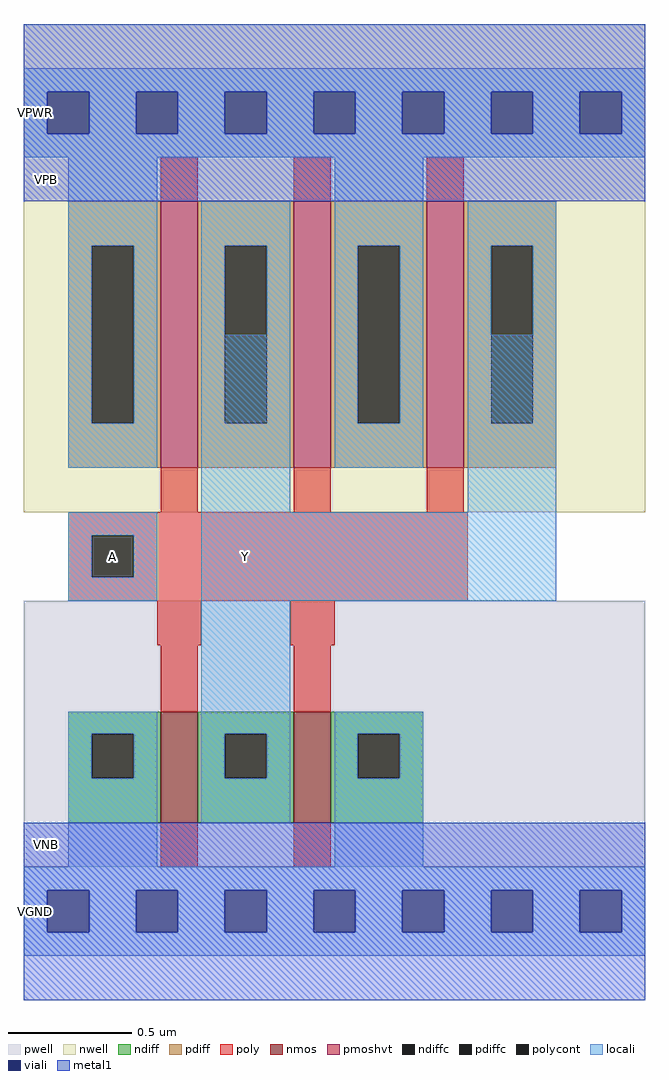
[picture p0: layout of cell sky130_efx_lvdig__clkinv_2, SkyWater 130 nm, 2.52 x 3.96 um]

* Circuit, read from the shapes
.subckt sky130_efx_lvdig__clkinv_2 A Y VPWR VGND VPB VNB
XM1 Y A VGND VNB sky130_fd_pr__nfet_01v8 w=0.45 l=0.15 m=2
XM2 Y A VPWR VPB sky130_fd_pr__pfet_01v8_hvt w=1.08 l=0.15 m=3
.ends

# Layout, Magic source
magic
tech sky130A
magscale 1 2
<< nwell >>
rect 0 288 504 684
<< pwell >>
rect 0 0 504 216
<< poly >>
rect 36 269 360 288
rect 36 235 55 269
rect 89 235 360 269
rect 36 216 360 235
rect 108 180 144 216
rect 216 180 252 216
<< polycont >>
rect 55 235 89 269
<< locali >>
rect 0 629 504 648
rect 0 595 19 629
rect 53 595 91 629
rect 125 595 163 629
rect 197 595 235 629
rect 269 595 307 629
rect 341 595 379 629
rect 413 595 451 629
rect 485 595 504 629
rect 0 576 504 595
rect 36 504 108 576
rect 252 504 324 576
rect 144 288 216 432
rect 360 288 432 432
rect 36 269 108 288
rect 36 235 55 269
rect 89 235 108 269
rect 36 216 108 235
rect 144 216 432 288
rect 144 108 216 216
rect 36 0 108 72
rect 252 0 324 72
rect 0 -19 504 0
rect 0 -53 19 -19
rect 53 -53 91 -19
rect 125 -53 163 -19
rect 197 -53 235 -19
rect 269 -53 307 -19
rect 341 -53 379 -19
rect 413 -53 451 -19
rect 485 -53 504 -19
rect 0 -72 504 -53
<< viali >>
rect 19 595 53 629
rect 91 595 125 629
rect 163 595 197 629
rect 235 595 269 629
rect 307 595 341 629
rect 379 595 413 629
rect 451 595 485 629
rect 19 -53 53 -19
rect 91 -53 125 -19
rect 163 -53 197 -19
rect 235 -53 269 -19
rect 307 -53 341 -19
rect 379 -53 413 -19
rect 451 -53 485 -19
<< metal1 >>
rect 0 629 504 684
rect 0 595 19 629
rect 53 595 91 629
rect 125 595 163 629
rect 197 595 235 629
rect 269 595 307 629
rect 341 595 379 629
rect 413 595 451 629
rect 485 595 504 629
rect 0 540 504 595
rect 0 -19 504 36
rect 0 -53 19 -19
rect 53 -53 91 -19
rect 125 -53 163 -19
rect 197 -53 235 -19
rect 269 -53 307 -19
rect 341 -53 379 -19
rect 413 -53 451 -19
rect 485 -53 504 -19
rect 0 -108 504 -53
use nmos_n2f5_f1_l150  nmos_n2f5_f1_l150_0
transform 1 0 72 0 1 36
box -72 -36 180 144
use nmos_n2f5_f1_l150  nmos_n2f5_f1_l150_1
transform 1 0 180 0 1 36
box -72 -36 180 144
use pmos_n6_f1_l150_hvt  pmos_n6_f1_l150_hvt_0
transform 1 0 72 0 1 324
box -72 -36 180 252
use pmos_n6_f1_l150_hvt  pmos_n6_f1_l150_hvt_1
transform 1 0 180 0 1 324
box -72 -36 180 252
use pmos_n6_f1_l150_hvt  pmos_n6_f1_l150_hvt_2
transform 1 0 288 0 1 324
box -72 -36 180 252
<< labels >>
flabel locali 36 216 108 288 0 FreeSans 288 0 0 0 A
port 1 nsew signal input
flabel locali 144 216 216 288 0 FreeSans 288 0 0 0 Y
port 2 nsew signal output
flabel metal1 0 576 18 648 0 FreeSans 288 0 0 0 VPWR
port 3 nsew power bidirectional
flabel metal1 0 -72 18 0 0 FreeSans 288 0 0 0 VGND
port 4 nsew ground bidirectional
flabel nwell 0 540 36 576 0 FreeSans 288 0 0 0 VPB
port 5 nsew power bidirectional
flabel pwell 0 0 36 36 0 FreeSans 288 0 0 0 VNB
port 6 nsew ground bidirectional
<< properties >>
string FIXED_BBOX 0 -36 504 612
<< end >>

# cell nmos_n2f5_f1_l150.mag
magic
tech sky130A
magscale 1 2
<< pwell >>
rect -72 -36 180 144
<< nmos >>
rect 39 0 69 90
<< ndiff >>
rect -36 72 39 90
rect -36 36 -17 72
rect 17 36 39 72
rect -36 0 39 36
rect 69 72 144 90
rect 69 36 91 72
rect 125 36 144 72
rect 69 0 144 36
<< ndiffc >>
rect -17 36 17 72
rect 91 36 125 72
<< poly >>
rect 39 90 69 144
rect 39 -36 69 0
<< locali >>
rect -36 72 36 90
rect -36 36 -17 72
rect 17 36 36 72
rect -36 0 36 36
rect 72 72 144 90
rect 72 36 91 72
rect 125 36 144 72
rect 72 0 144 36
<< labels >>
rlabel locali 0 18 0 18 0 S0
port 1 nsew
rlabel locali 108 18 108 18 0 D0
port 2 nsew
<< end >>

# cell pmos_n6_f1_l150_hvt: kit device pmos, n 6 fingers 1 length 0.15 butted 0 ltap 0 rtap 0 vt hvt tgate 0 bgate 0
